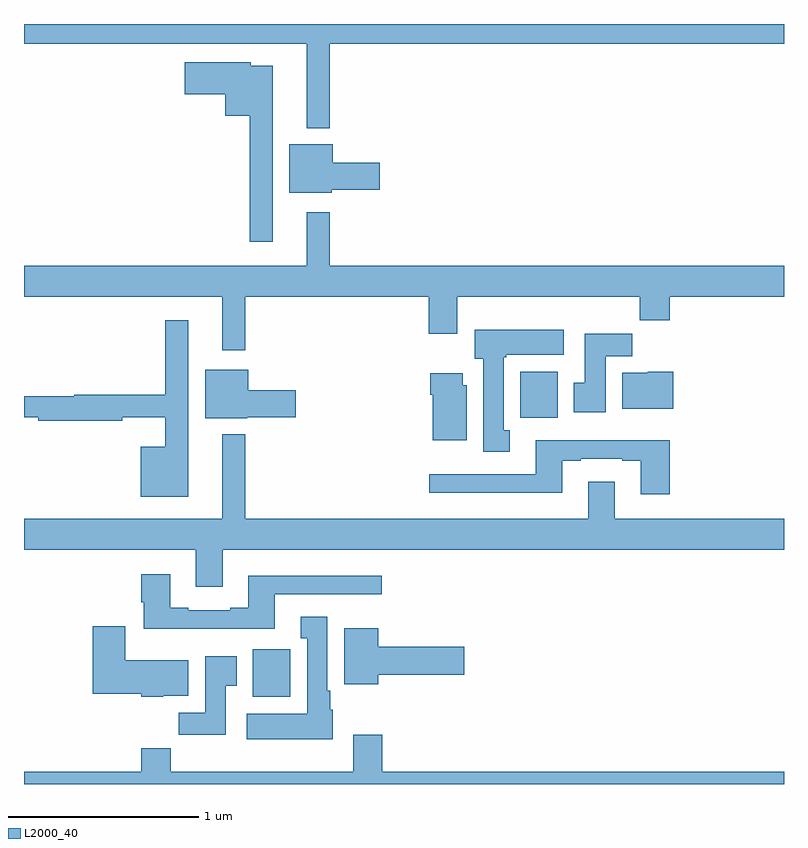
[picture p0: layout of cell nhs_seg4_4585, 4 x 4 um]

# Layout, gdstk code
import gdstk
lib = gdstk.Library(unit=1e-6, precision=1e-09)
def R(c, l, rs):  # rectangles x0, y0, x1, y1
    for r in rs: c.add(gdstk.rectangle(r[:2], r[2:], *l))
def P(c, l, *ps):  # polygons
    for p in ps: c.add(gdstk.Polygon(p, *l))
L2000_40 = (2000, 40)

nhs_seg4_4585 = lib.new_cell('nhs_seg4_4585')
R(nhs_seg4_4585, L2000_40, [(358.205,817.358,358.401,817.609), (359.612,818.828,359.809,819.07)])
P(nhs_seg4_4585, L2000_40, [(358.609,820.796),(361,820.796),(361,820.9),(357,820.9),(357,820.796),(358.487,820.796),(358.487,820.352),(358.609,820.352)],
  [(358.309,820.681),(358.194,820.681),(358.194,820.699),(357.846,820.699),(357.846,820.529),(358.058,820.529),(358.058,820.418),(358.188,820.418),(358.188,819.753),(358.309,819.753)],
  [(358.62,820.027),(358.873,820.027),(358.873,820.169),(358.624,820.169),(358.624,820.267),(358.397,820.267),(358.397,820.013),(358.62,820.013)],
  [(358.165,819.464),(359.129,819.464),(359.129,819.27),(359.281,819.27),(359.281,819.464),(360.241,819.464),(360.241,819.34),(360.398,819.34),(360.398,819.464),(361,819.464),(361,819.628),(358.609,819.628),(358.609,819.91),(358.487,819.91),(358.487,819.628),(357,819.628),(357,819.464),(358.043,819.464),(358.043,819.183),(358.165,819.183)],
  [(357.865,819.34),(357.744,819.34),(357.744,818.948),(357.265,818.948),(357.265,818.941),(357,818.941),(357,818.831),(357.076,818.831),(357.076,818.812),(357.518,818.812),(357.518,818.831),(357.744,818.831),(357.744,818.674),(357.614,818.674),(357.614,818.411),(357.865,818.411)],
  [(359.557,818.762),(359.524,818.762),(359.524,819.145),(359.538,819.145),(359.538,819.158),(359.842,819.158),(359.842,819.292),(359.372,819.292),(359.372,819.138),(359.417,819.138),(359.417,818.649),(359.557,818.649)],
  [(360.061,819.152),(360.2,819.152),(360.2,819.271),(359.951,819.271),(359.951,819.012),(359.894,819.012),(359.894,818.856),(360.061,818.856)],
  [(358.176,818.831),(358.429,818.831),(358.429,818.973),(358.18,818.973),(358.18,819.079),(357.953,819.079),(357.953,818.825),(358.176,818.825)],
  [(360.418,819.07),(360.282,819.07),(360.282,819.064),(360.149,819.064),(360.149,818.876),(360.418,818.876)],
  [(359.329,819),(359.308,819),(359.308,819.061),(359.138,819.061),(359.138,818.948),(359.15,818.948),(359.15,818.708),(359.329,818.708)],
  [(358.045,818.132),(361,818.132),(361,818.296),(360.109,818.296),(360.109,818.491),(359.969,818.491),(359.969,818.296),(358.165,818.296),(358.165,818.74),(358.043,818.74),(358.043,818.296),(357,818.296),(357,818.132),(357.905,818.132),(357.905,817.938),(358.045,817.938)],
  [(360.398,818.71),(359.693,818.71),(359.693,818.529),(359.133,818.529),(359.133,818.432),(359.833,818.432),(359.833,818.601),(359.929,818.601),(359.929,818.613),(360.149,818.613),(360.149,818.601),(360.245,818.601),(360.245,818.424),(360.398,818.424)],
  [(358.321,817.899),(358.882,817.899),(358.882,817.996),(358.181,817.996),(358.181,817.828),(358.085,817.828),(358.085,817.815),(357.865,817.815),(357.865,817.828),(357.769,817.828),(357.769,818.005),(357.617,818.005),(357.617,817.857),(357.629,817.857),(357.629,817.718),(358.321,817.718)],
  [(358.624,817.29),(358.612,817.29),(358.612,817.39),(358.597,817.39),(358.597,817.78),(358.457,817.78),(358.457,817.667),(358.49,817.667),(358.49,817.27),(358.173,817.27),(358.173,817.136),(358.624,817.136)],
  [(357.732,817.364),(357.865,817.364),(357.865,817.552),(357.532,817.552),(357.532,817.729),(357.362,817.729),(357.362,817.376),(357.618,817.376),(357.618,817.358),(357.732,817.358)],
  [(358.864,817.475),(359.317,817.475),(359.317,817.622),(358.864,817.622),(358.864,817.72),(358.685,817.72),(358.685,817.424),(358.864,817.424)],
  [(358.063,817.417),(358.12,817.417),(358.12,817.573),(357.953,817.573),(357.953,817.276),(357.814,817.276),(357.814,817.158),(358.063,817.158)],
  [(361,816.964),(358.886,816.964),(358.886,817.159),(358.733,817.159),(358.733,816.964),(357.773,816.964),(357.773,817.088),(357.617,817.088),(357.617,816.964),(357,816.964),(357,816.9),(361,816.9)])

lib.write_gds('nhs_seg4_4585.gds')
